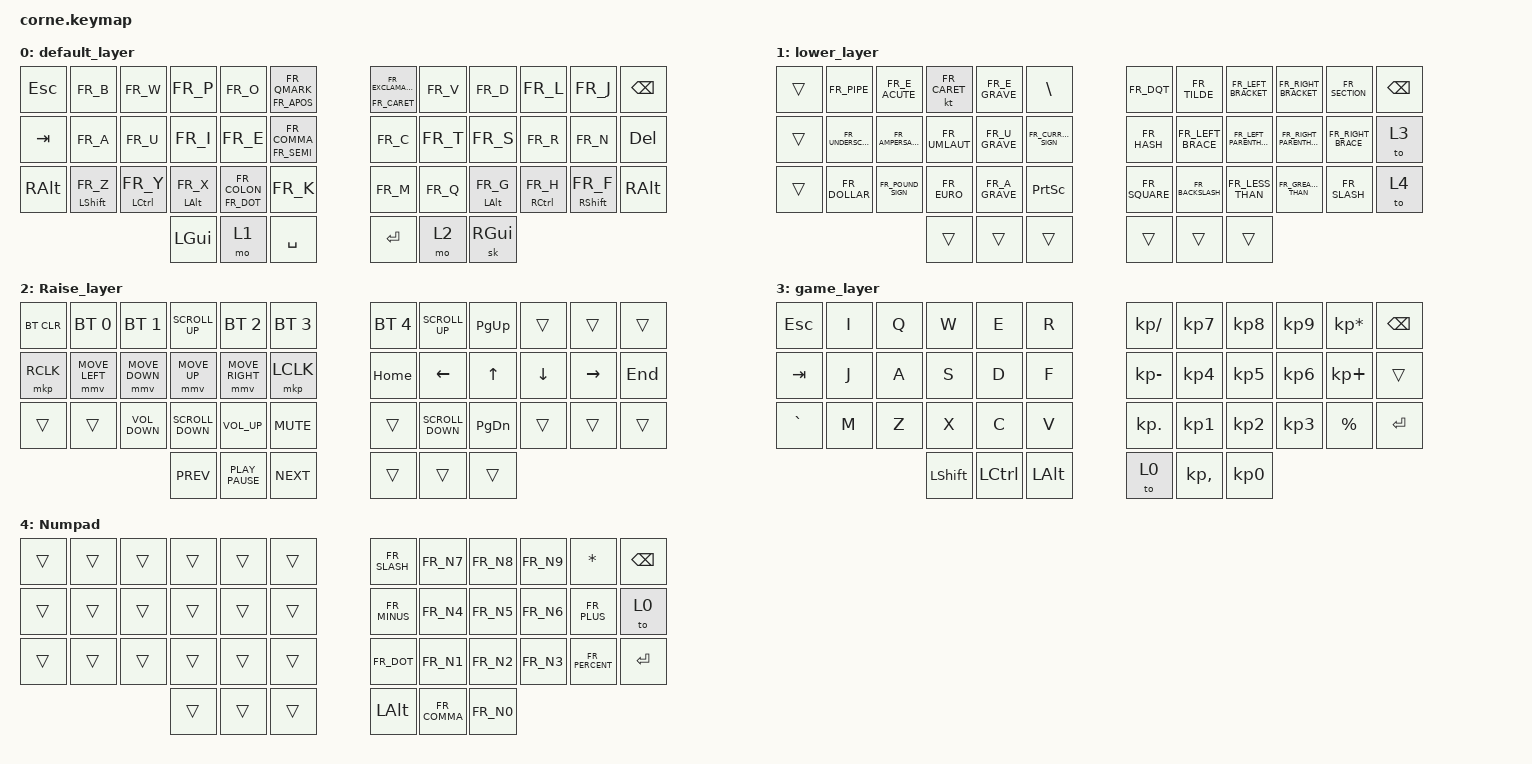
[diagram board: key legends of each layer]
/*
 * Copyright (c) 2020 The ZMK Contributors
 *
 * SPDX-License-Identifier: MIT
 */

#include <behaviors.dtsi>
#include <dt-bindings/zmk/bt.h>
#include <dt-bindings/zmk/keys.h>
#include <dt-bindings/zmk/pointing.h>
#include "keys_fr.h"

/ {
    keymap {
        compatible = "zmk,keymap";

        default_layer {
            // ---------------------------------------------------------------------------------
            // | ESC |  B  |  W  |  P  |  O  | ?/' |   | !/^ |  V  |  D  |  L  |  J  |BSPC |
            // | TAB |  A  |  U  |  I  |  E  | ,/; |   |  C  |  T  |  S  |  R  |  N  | DEL |
            // |LCTRL|  Z  |  Y  |  X  |  .  |  K  |   |  M  |  Q  |  R  |  H  |  F  |RSHFT|
            //                     | GUI | LWR | SPC |   | ENT | RSE | ALT |

            bindings = <
&kp ESCAPE     &kp FR_B             &kp FR_W               &kp FR_P           &kp FR_O             &mt FR_APOS FR_QMARK    &mt FR_CARET FR_EXCLAMATION  &kp FR_V  &kp FR_D           &kp FR_L        &kp FR_J        &kp BSPC
&kp TAB        &kp FR_A             &kp FR_U               &kp FR_I           &kp FR_E             &mt FR_SEMI FR_COMMA    &kp FR_C                     &kp FR_T  &kp FR_S           &kp FR_R        &kp FR_N        &kp DELETE
&kp RIGHT_ALT  &mt LEFT_SHIFT FR_Z  &mt LEFT_CONTROL FR_Y  &mt LEFT_ALT FR_X  &mt FR_DOT FR_COLON  &kp FR_K                &kp FR_M                     &kp FR_Q  &mt LEFT_ALT FR_G  &mt RCTRL FR_H  &mt RSHFT FR_F  &kp RALT
                                                           &kp LEFT_GUI       &mo 1                &kp SPACE               &kp RET                      &mo 2     &sk RGUI
            >;
        };

        lower_layer {
            // --------------------------------------------------------------------------------
            // |trans| "|" |  É  |  &  |  È  |  Œ  |   |  "  |  ~  |  [  |  ]  |trans|trans|
            // |trans|  Æ  |  Ù  |  ¨  |  €  |  '  |   |  #  |  {  |  (  |  )  |  }  |trans|
            // |trans|  /  |  \  |  Ç  |  $  |PRTSC|   |  ~  |  «  |  <  |  >  |  »  |trans|
            //                   |trans| LWR |trans|   |trans|trans|trans|

            bindings = <
&trans  &kp FR_PIPE        &kp FR_E_ACUTE     &kt FR_CARET   &kp FR_E_GRAVE  &kp BSLH                &kp FR_DQT     &kp FR_TILDE       &kp FR_LEFT_BRACKET      &kp FR_RIGHT_BRACKET      &kp FR_SECTION      &kp BACKSPACE
&trans  &kp FR_UNDERSCORE  &kp FR_AMPERSAND   &kp FR_UMLAUT  &kp FR_U_GRAVE  &kp FR_CURRENCY_SIGN    &kp FR_HASH    &kp FR_LEFT_BRACE  &kp FR_LEFT_PARENTHESIS  &kp FR_RIGHT_PARENTHESIS  &kp FR_RIGHT_BRACE  &to 3
&trans  &kp FR_DOLLAR      &kp FR_POUND_SIGN  &kp FR_EURO    &kp FR_A_GRAVE  &kp PRINTSCREEN         &kp FR_SQUARE  &kp FR_BACKSLASH   &kp FR_LESS_THAN         &kp FR_GREATER_THAN       &kp FR_SLASH        &to 4
                                              &trans         &trans          &trans                  &trans         &trans             &trans
            >;
        };

        Raise_layer {
            // --------------------------------------------------------------------------------
            // |trans|trans|trans|trans|trans|trans|   |  /  |  7  |  8  |  9  |  *  |BSPC |
            // |trans|trans|trans|trans|trans|trans|   |  -  |  4  |  5  |  6  |  +  | DEL |
            // |trans|trans|trans|trans|trans|trans|   |  .  |  1  |  2  |  3  |  %  | ENT |
            //                   |trans|trans|trans|   |trans|  ,  |  0  |

            bindings = <
&bt BT_CLR  &bt BT_SEL 0    &bt BT_SEL 1       &kp K_SCROLL_UP    &bt BT_SEL 2      &bt BT_SEL 3    &bt BT_SEL 4  &kp K_SCROLL_UP    &kp PAGE_UP    &trans    &trans     &trans
&mkp RCLK   &mmv MOVE_LEFT  &mmv MOVE_DOWN     &mmv MOVE_UP       &mmv MOVE_RIGHT   &mkp LCLK       &kp HOME      &kp LEFT_ARROW     &kp UP         &kp DOWN  &kp RIGHT  &kp END
&trans      &trans          &kp K_VOLUME_DOWN  &kp K_SCROLL_DOWN  &kp K_VOLUME_UP   &kp K_MUTE      &trans        &kp K_SCROLL_DOWN  &kp PAGE_DOWN  &trans    &trans     &trans
                                               &kp K_PREV         &kp K_PLAY_PAUSE  &kp K_NEXT      &trans        &trans             &trans
            >;
        };

        game_layer {
            bindings = <
&kp ESC    &kp I  &kp Q  &kp W      &kp E      &kp R       &kp KP_SLASH  &kp KP_NUMBER_7  &kp KP_NUMBER_8  &kp KP_NUMBER_9  &kp KP_ASTERISK  &kp BACKSPACE
&kp TAB    &kp J  &kp A  &kp S      &kp D      &kp F       &kp KP_MINUS  &kp KP_NUMBER_4  &kp KP_NUMBER_5  &kp KP_NUMBER_6  &kp KP_PLUS      &trans
&kp GRAVE  &kp M  &kp Z  &kp X      &kp C      &kp V       &kp KP_DOT    &kp KP_N1        &kp KP_NUMBER_2  &kp KP_NUMBER_3  &kp PERCENT      &kp ENTER
                         &kp LSHFT  &kp LCTRL  &kp LALT    &to 0         &kp KP_COMMA     &kp KP_NUMBER_0
            >;
        };

        Numpad {
            bindings = <
&trans  &trans  &trans  &trans  &trans  &trans    &kp FR_SLASH  &kp FR_N7     &kp FR_N8  &kp FR_N9  &kp STAR        &kp BACKSPACE
&trans  &trans  &trans  &trans  &trans  &trans    &kp FR_MINUS  &kp FR_N4     &kp FR_N5  &kp FR_N6  &kp FR_PLUS     &to 0
&trans  &trans  &trans  &trans  &trans  &trans    &kp FR_DOT    &kp FR_N1     &kp FR_N2  &kp FR_N3  &kp FR_PERCENT  &kp ENTER
                        &trans  &trans  &trans    &kp LALT      &kp FR_COMMA  &kp FR_N0
            >;
        };
    };
};

// Tamplate
// --------------------------------------------------------------------------------
// |     |     |     |     |     |     |   |     |     |     |     |     |     |
// |     |     |     |     |     |     |   |     |     |     |     |     |     |
// |     |     |     |     |     |     |   |     |     |     |     |     |     |
//                   |     |     |     |   |     |     |     |
